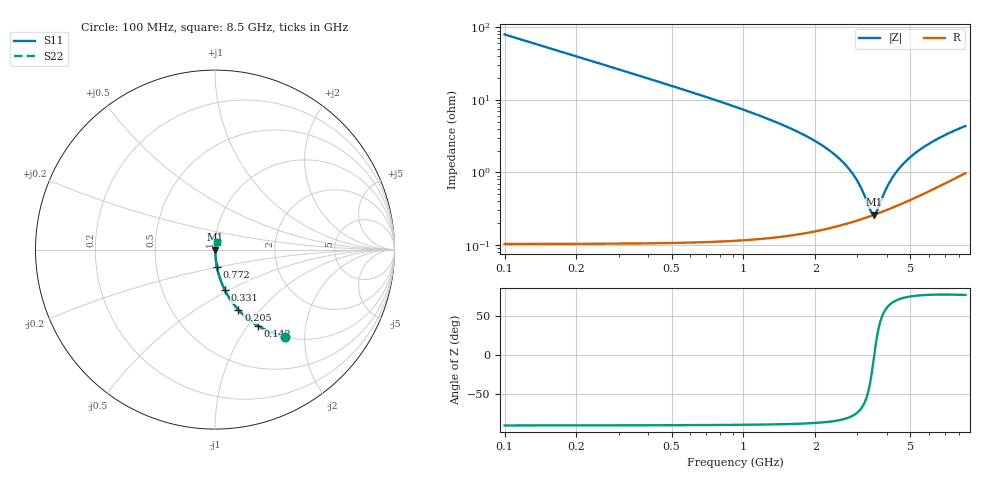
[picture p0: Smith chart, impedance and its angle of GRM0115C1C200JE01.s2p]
!Murata Part Number: GRM0115C1C200JE01
!These Parameters are Measured in Series Mode Connection
!Data Generated on Mar 30, 2021
!  o--ll--o
!Port1  Port2
!  o------o
!Operation Temp=25[degC], DC Bias Voltage=0[V]
!Freq. Start=100[MHz] Stop=9[GHz] 401[Steps]
# Hz S RI R 50
!Freq.(Hz) S11(Real) S11(Imag) S21(Real) S21(Imag) S12(Real) S12(Imag) S22(Real) S22(Imag)
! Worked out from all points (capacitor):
!   401 points, 100 MHz to 8.5 GHz, reference 50 ohm
!   read as one part in series: C = 20 pF near 142 MHz
!   lowest |Z| = 261 mohm at 3.523 GHz (marker M1)
!   series resonance near 3.53 GHz, so ESL is about 100 pH
!   S11 on the Smith chart (normalised r, x): 100 MHz: 1.00, -1.59; 142 MHz: 1.00, -1.12; 205 MHz: 1.00, -0.77; 331 MHz: 1.00, -0.48; 772 MHz: 1.00, -0.20; 8.5 GHz: 1.02, +0.08
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1e8  0.3875 -0.4865  0.6125 0.4865  0.6125 0.4865  0.3875 -0.4865
1.42e8  0.2388 -0.4254  0.7612 0.4254  0.7612 0.4254  0.2388 -0.4254
2.05e8  0.1308 -0.3359  0.8692 0.3359  0.8692 0.3359  0.1308 -0.3359
3.31e8  0.0546 -0.225  0.9454 0.225  0.9454 0.225  0.0546 -0.225
5.2e8  0.0229 -0.1461  0.9771 0.1461  0.9771 0.1461  0.0229 -0.1461
7.72e8  0.0106 -0.097  0.9894 0.097  0.9894 0.097  0.0106 -0.097
1.087e9  0.00553 -0.0658  0.9945 0.0658  0.9945 0.0658  0.00553 -0.0658
1.507e9  0.00317 -0.0429  0.9968 0.0429  0.9968 0.0429  0.00317 -0.0429
2.389e9  0.00208 -0.0179  0.9979 0.0179  0.9979 0.0179  0.00208 -0.0179
2.683e9  0.0021 -0.0124  0.9979 0.0124  0.9979 0.0124  0.0021 -0.0124
2.914e9  0.00218 -0.0086  0.9978 0.0086  0.9978 0.0086  0.00218 -0.0086
3.124e9  0.0023 -0.00545  0.9977 0.00545  0.9977 0.00545  0.0023 -0.00545
3.418e9  0.00251 -0.00143  0.9975 0.00143  0.9975 0.00143  0.00251 -0.00143
3.523e9  0.0026 -8.2e-05  0.9974 8.2e-05  0.9974 8.2e-05  0.0026 -8.2e-05
3.628e9  0.00269 0.00122  0.9973 -0.00122  0.9973 -0.00122  0.00269 0.00122
3.985e9  0.00306 0.00539  0.9969 -0.00539  0.9969 -0.00539  0.00306 0.00539
4.3e9  0.00343 0.00878  0.9966 -0.00878  0.9966 -0.00878  0.00343 0.00878
4.573e9  0.00379 0.0115  0.9962 -0.0115  0.9962 -0.0115  0.00379 0.0115
4.888e9  0.00423 0.0146  0.9958 -0.0146  0.9958 -0.0146  0.00423 0.0146
5.707e9  0.00555 0.0217  0.9945 -0.0217  0.9945 -0.0217  0.00555 0.0217
7.114e9  0.00827 0.0324  0.9917 -0.0324  0.9917 -0.0324  0.00827 0.0324
8.5e9  0.0114 0.0416  0.9886 -0.0416  0.9886 -0.0416  0.0114 0.0416
